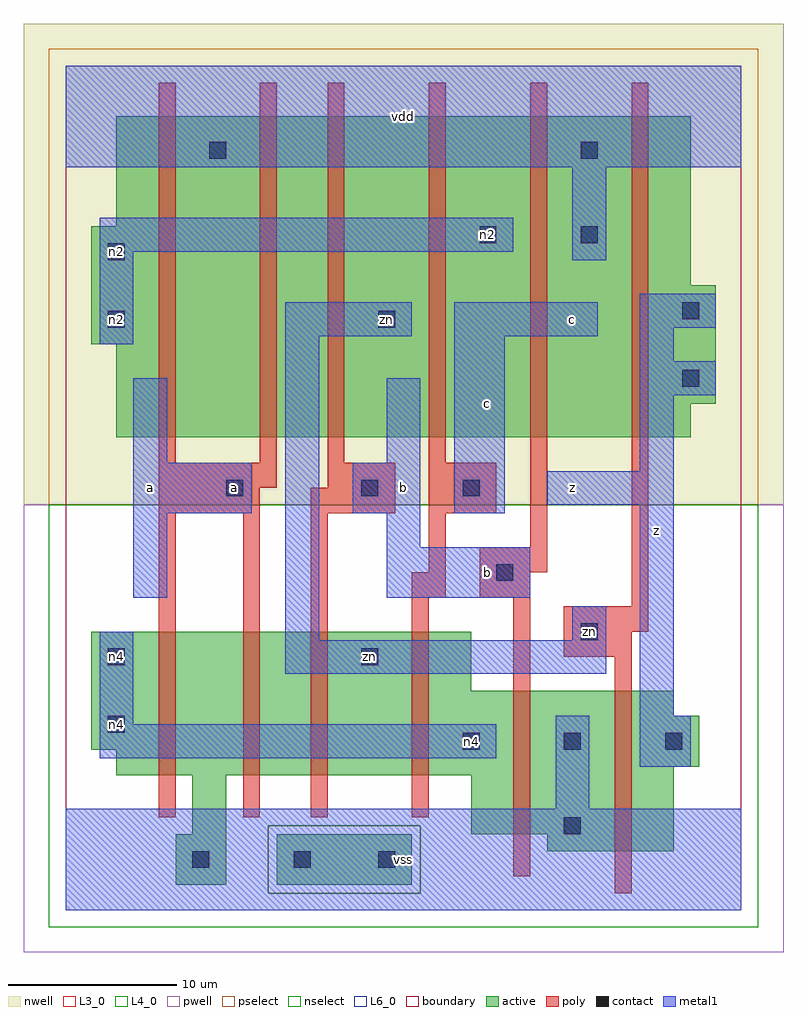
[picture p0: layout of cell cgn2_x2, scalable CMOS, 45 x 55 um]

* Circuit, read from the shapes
.subckt cgn2_x2 a b c n2 n4 vdd vss z zn
M1 vss a n4 vss nfet w=8.5u l=1u
M2 n1 a vss vss nfet w=8.5u l=1u
M3 zn b n1 vss nfet w=8.5u l=1u
M4 n4 c zn vss nfet w=8.5u l=1u
M5 vss b n4 vss nfet w=8.5u l=1u
M6 z zn vss vss nfet w=9.5u l=1u
M7 vdd a n2 n3 pfet w=19u l=1u
M8 n5 a vdd n3 pfet w=19u l=1u
M9 zn b n5 n3 pfet w=19u l=1u
M10 n2 c zn n3 pfet w=19u l=1u
M11 vdd b n2 n3 pfet w=19u l=1u
M12 z zn vdd n3 pfet w=19u l=1u
.ends

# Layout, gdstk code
import gdstk
lib = gdstk.Library(unit=1e-6, precision=1e-09)
def R(c, l, rs):  # rectangles x0, y0, x1, y1
    for r in rs: c.add(gdstk.rectangle(r[:2], r[2:], *l))
def A(c, l, x, y, w, h, nx, ny, dx, dy):  # array of equal rectangles
    R(c, l, [(x+i*dx, y+j*dy, x+i*dx+w, y+j*dy+h) for i in range(nx) for j in range(ny)])
L3_0 = (3, 0)
L4_0 = (4, 0)
L6_0 = (6, 0)
contact = (25, 0)
pwell = (41, 0)
nwell = (42, 0)
active = (43, 0)
pselect = (44, 0)
nselect = (45, 0)
poly = (46, 0)
metal1 = (49, 0)
boundary = (63, 0)

cgn2_x2 = lib.new_cell('cgn2_x2')
R(cgn2_x2, L3_0, [(6.5,1.5,9.5,4.5), (28.5,3.5,36,4.5), (7.5,4.5,9.5,8), (24,4.5,36,8), (3,8,36,8.5), (3,8.5,37.5,9.5), (1.5,9.5,37.5,11.5), (1.5,11.5,36,13), (1.5,13,24,16.5)])
R(cgn2_x2, L4_0, [(3,28,37,30), (3,30,38.5,33.5), (1.5,33.5,38.5,37), (1.5,37,37,40.5), (3,40.5,37,47)])
R(cgn2_x2, L6_0, [(12.5,1.5,20.5,4.5)])
A(cgn2_x2, contact, 23.5, 9.5, 1, 1, 3, 1, 6, 0)
R(cgn2_x2, contact, [(7.5,2.5,8.5,3.5), (13.5,2.5,14.5,3.5), (18.5,2.5,19.5,3.5), (29.5,4.5,30.5,5.5), (2.5,10.5,3.5,11.5), (2.5,14.5,3.5,15.5), (17.5,14.5,18.5,15.5), (30.5,16,31.5,17), (25.5,19.5,26.5,20.5), (9.5,24.5,10.5,25.5), (17.5,24.5,18.5,25.5), (23.5,24.5,24.5,25.5), (36.5,31,37.5,32), (2.5,34.5,3.5,35.5), (18.5,34.5,19.5,35.5), (36.5,35,37.5,36), (2.5,38.5,3.5,39.5), (24.5,39.5,25.5,40.5), (30.5,39.5,31.5,40.5), (8.5,44.5,9.5,45.5), (30.5,44.5,31.5,45.5)])
R(cgn2_x2, pwell, [(-2.5,-2.5,42.5,24)])
R(cgn2_x2, nwell, [(-2.5,24,42.5,52.5)])
R(cgn2_x2, active, [(6.5,1.5,9.5,4.5), (12.5,1.5,20.5,4.5), (28.5,3.5,36,4.5), (7.5,4.5,9.5,8), (24,4.5,36,8), (3,8,36,8.5), (3,8.5,37.5,9.5), (1.5,9.5,37.5,11.5), (1.5,11.5,36,13), (1.5,13,24,16.5), (3,28,37,30), (3,30,38.5,33.5), (1.5,33.5,38.5,37), (1.5,37,37,40.5), (3,40.5,37,47)])
R(cgn2_x2, pselect, [(12,1,21,5), (-1,24,41,51)])
R(cgn2_x2, nselect, [(-1,-1,41,1), (-1,1,12,5), (21,1,41,5), (-1,5,41,24)])
R(cgn2_x2, poly, [(32.5,1,33.5,15), (26.5,2,27.5,18.5), (5.5,5.5,6.5,23.5), (10.5,5.5,11.5,23.5), (14.5,5.5,15.5,23.5), (20.5,5.5,21.5,18.5), (29.5,15,33.5,16.5), (29.5,16.5,34.5,18), (33.5,18,34.5,49), (20.5,18.5,22.5,20), (24.5,18.5,27.5,20), (21.5,20,22.5,23.5), (24.5,20,28.5,21.5), (27.5,21.5,28.5,49), (5.5,23.5,11.5,25), (14.5,23.5,19.5,25), (21.5,23.5,25.5,26.5), (5.5,25,12.5,26.5), (15.5,25,19.5,26.5), (5.5,26.5,6.5,49), (11.5,26.5,12.5,49), (15.5,26.5,16.5,49), (21.5,26.5,22.5,49)])
R(cgn2_x2, metal1, [(0,0,40,6), (0,0,40,6), (29,6,31,11.5), (29,6,31,11.5), (34,8.5,37,11.5), (34,8.5,37,11.5), (2,9,25.5,11), (2,9,25.5,11), (2,11,4,16.5), (2,11,4,16.5), (34,11.5,36,24), (34,11.5,36,24), (13,14,32,16), (13,14,32,16), (13,16,15,34), (13,16,15,34), (30,16,32,18), (30,16,32,18), (4,18.5,6,23.5), (4,18.5,6,23.5), (19,18.5,27.5,21.5), (19,18.5,27.5,21.5), (19,21.5,21,23.5), (19,21.5,21,23.5), (4,23.5,11,26.5), (4,23.5,11,26.5), (17,23.5,21,26.5), (17,23.5,21,26.5), (23,23.5,26,34), (23,23.5,26,34), (28.5,24,36,26), (28.5,24,36,26), (34,26,36,30.5), (34,26,36,30.5), (4,26.5,6,31.5), (4,26.5,6,31.5), (19,26.5,21,31.5), (19,26.5,21,31.5), (34,30.5,38.5,32.5), (34,30.5,38.5,32.5), (34,32.5,36,34.5), (34,32.5,36,34.5), (2,33.5,4,39), (2,33.5,4,39), (13,34,20.5,36), (13,34,20.5,36), (23,34,31.5,36), (23,34,31.5,36), (34,34.5,38.5,36.5), (34,34.5,38.5,36.5), (30,38.5,32,44), (30,38.5,32,44), (2,39,26.5,41), (2,39,26.5,41), (0,44,40,50), (0,44,40,50)])
R(cgn2_x2, boundary, [(0,0,40,50)])
cgn2_x2.add(gdstk.Label('n4', (3,11), layer=49, texttype=0))
cgn2_x2.add(gdstk.Label('n4', (3,15), layer=49, texttype=0))
cgn2_x2.add(gdstk.Label('n2', (3,35), layer=49, texttype=0))
cgn2_x2.add(gdstk.Label('n2', (3,39), layer=49, texttype=0))
cgn2_x2.add(gdstk.Label('zn', (18,15), layer=49, texttype=0))
cgn2_x2.add(gdstk.Label('n4', (24,10), layer=49, texttype=0))
cgn2_x2.add(gdstk.Label('zn', (19,35), layer=49, texttype=0))
cgn2_x2.add(gdstk.Label('n2', (25,40), layer=49, texttype=0))
cgn2_x2.add(gdstk.Label('zn', (31,16.5), layer=49, texttype=0))
cgn2_x2.add(gdstk.Label('a', (5,25), layer=49, texttype=0))
cgn2_x2.add(gdstk.Label('a', (10,25), layer=49, texttype=0))
cgn2_x2.add(gdstk.Label('vss', (20,3), layer=49, texttype=0))
cgn2_x2.add(gdstk.Label('b', (25,20), layer=49, texttype=0))
cgn2_x2.add(gdstk.Label('b', (20,25), layer=49, texttype=0))
cgn2_x2.add(gdstk.Label('c', (25,30), layer=49, texttype=0))
cgn2_x2.add(gdstk.Label('vdd', (20,47), layer=49, texttype=0))
cgn2_x2.add(gdstk.Label('z', (35,22.5), layer=49, texttype=0))
cgn2_x2.add(gdstk.Label('z', (30,25), layer=49, texttype=0))
cgn2_x2.add(gdstk.Label('c', (30,35), layer=49, texttype=0))

lib.write_gds('cgn2_x2.gds')
